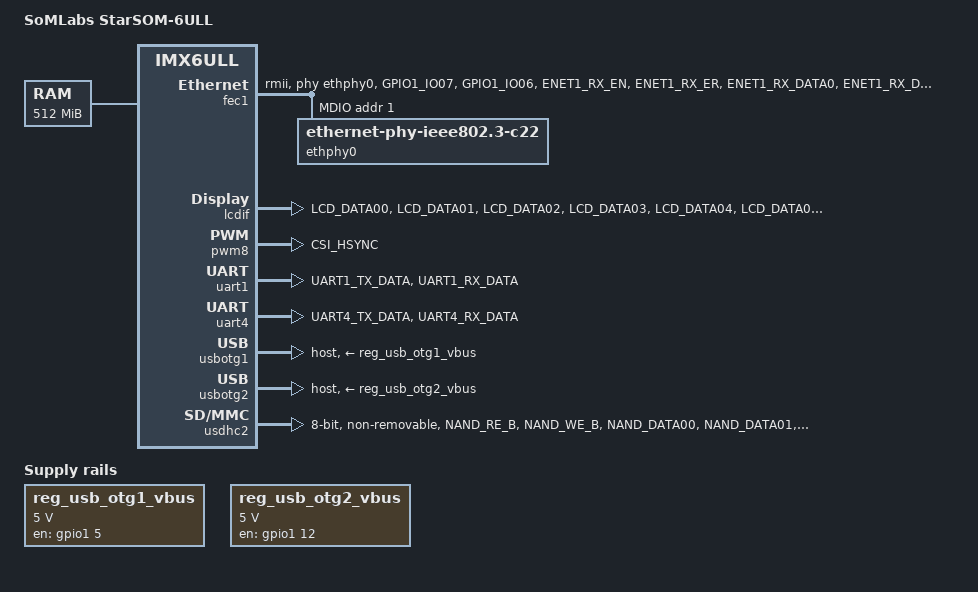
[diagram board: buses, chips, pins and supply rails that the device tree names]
// SPDX-License-Identifier: GPL-2.0+
/*
 * Copyright (C) 2021 Somlabs
 */

/dts-v1/;

#include <dt-bindings/input/input.h>
#include "imx6ull.dtsi"
#include "imx6ul-lcd-ph800480t013.dtsi"

/ {
	model = "SoMLabs StarSOM-6ULL";
	compatible = "fsl,imx6ull";

	chosen {
		stdout-path = &uart4;
	};

	memory {
		reg = <0x80000000 0x20000000>;
	};

	reserved-memory {
		#address-cells = <1>;
		#size-cells = <1>;
		ranges;

		linux,cma {
			compatible = "shared-dma-pool";
			reusable;
			size = <0x14000000>;
			linux,cma-default;
		};
	};

	regulators {
		compatible = "simple-bus";
		#address-cells = <1>;
		#size-cells = <0>;

		reg_usb_otg1_vbus: regulator@2 {
			compatible = "regulator-fixed";
			reg = <2>;
			pinctrl-names = "default";
			pinctrl-0 = <&pinctrl_usb_otg1>;
			regulator-name = "usb_otg1_vbus";
			regulator-min-microvolt = <5000000>;
			regulator-max-microvolt = <5000000>;
			gpio = <&gpio1 5 GPIO_ACTIVE_HIGH>;
			enable-active-high;
		};

		reg_usb_otg2_vbus: regulator@3 {
			compatible = "regulator-fixed";
			reg = <3>;
			pinctrl-names = "default";
			pinctrl-0 = <&pinctrl_usb_otg2>;
			regulator-name = "usb_otg2_vbus";
			regulator-min-microvolt = <5000000>;
			regulator-max-microvolt = <5000000>;
			gpio = <&gpio1 12 GPIO_ACTIVE_HIGH>;
			enable-active-high;
		};
	};
};

&cpu0 {
	arm-supply = <&reg_arm>;
	soc-supply = <&reg_soc>;
};

&fec1 {
	pinctrl-names = "default";
	pinctrl-0 = <&pinctrl_enet1>;
	phy-reset-gpios = <&gpio1 10 GPIO_ACTIVE_LOW>;
	phy-reset-duration = <5>;
	phy-reset-post-delay = <10>;
	phy-mode = "rmii";
	phy-handle = <&ethphy0>;
	status = "okay";

	mdio {
		#address-cells = <1>;
		#size-cells = <0>;

		ethphy0: ethernet-phy@1 {
			compatible = "ethernet-phy-ieee802.3-c22";
			reg = <1>;
		};
	};

};

&gpc {
	fsl,cpu_pupscr_sw2iso = <0x1>;
	fsl,cpu_pupscr_sw = <0x0>;
	fsl,cpu_pdnscr_iso2sw = <0x1>;
	fsl,cpu_pdnscr_iso = <0x1>;
	fsl,ldo-bypass = <0>; /* DCDC, ldo-enable */
};

&iomuxc {
	pinctrl-names = "default";
	pinctrl-0 = <&pinctrl_hog_1>;
	imx6ul-evk {
		pinctrl_hog_1: hoggrp-1 {
			fsl,pins = <
				MX6UL_PAD_JTAG_TCK__OSC32K_32K_OUT		0x17099	/* 0x4001b031*/	/* 32kHz low power clock reference clock for WiFi*/
				MX6UL_PAD_CSI_MCLK__GPIO4_IO17 			0x17059	/* output */
				MX6UL_PAD_CSI_VSYNC__GPIO4_IO19			0x1b001 /* input with 100k pullup */
			>;
		};

		pinctrl_enet1: enet1grp {
			fsl,pins = <
				MX6UL_PAD_GPIO1_IO07__ENET1_MDC		0x1b0b0
				MX6UL_PAD_GPIO1_IO06__ENET1_MDIO	0x1F829

				MX6UL_PAD_ENET1_RX_EN__ENET1_RX_EN	0x1b0b0
				MX6UL_PAD_ENET1_RX_ER__ENET1_RX_ER	0x1b0b0
				MX6UL_PAD_ENET1_RX_DATA0__ENET1_RDATA00	0x1b0b0
				MX6UL_PAD_ENET1_RX_DATA1__ENET1_RDATA01	0x1b0b0
				MX6UL_PAD_ENET1_TX_EN__ENET1_TX_EN	0x1b0b0
				MX6UL_PAD_ENET1_TX_DATA0__ENET1_TDATA00	0x1b0b0
				MX6UL_PAD_ENET1_TX_DATA1__ENET1_TDATA01	0x1b0b0
				MX6UL_PAD_ENET1_TX_CLK__ENET1_REF_CLK1	0x400010a9
				/* PHY reset pin */
				MX6UL_PAD_JTAG_MOD__GPIO1_IO10		0x1b0b0
			>;
		};

		pinctrl_lcdif_dat: lcdifdatgrp {
			fsl,pins = <
				MX6UL_PAD_LCD_DATA00__LCDIF_DATA00  0x79
				MX6UL_PAD_LCD_DATA01__LCDIF_DATA01  0x79
				MX6UL_PAD_LCD_DATA02__LCDIF_DATA02  0x79
				MX6UL_PAD_LCD_DATA03__LCDIF_DATA03  0x79
				MX6UL_PAD_LCD_DATA04__LCDIF_DATA04  0x79
				MX6UL_PAD_LCD_DATA05__LCDIF_DATA05  0x79
				MX6UL_PAD_LCD_DATA06__LCDIF_DATA06  0x79
				MX6UL_PAD_LCD_DATA07__LCDIF_DATA07  0x79
				MX6UL_PAD_LCD_DATA08__LCDIF_DATA08  0x79
				MX6UL_PAD_LCD_DATA09__LCDIF_DATA09  0x79
				MX6UL_PAD_LCD_DATA10__LCDIF_DATA10  0x79
				MX6UL_PAD_LCD_DATA11__LCDIF_DATA11  0x79
				MX6UL_PAD_LCD_DATA12__LCDIF_DATA12  0x79
				MX6UL_PAD_LCD_DATA13__LCDIF_DATA13  0x79
				MX6UL_PAD_LCD_DATA14__LCDIF_DATA14  0x79
				MX6UL_PAD_LCD_DATA15__LCDIF_DATA15  0x79
				MX6UL_PAD_LCD_DATA16__LCDIF_DATA16  0x79
				MX6UL_PAD_LCD_DATA17__LCDIF_DATA17  0x79
				MX6UL_PAD_LCD_DATA18__LCDIF_DATA18  0x79
				MX6UL_PAD_LCD_DATA19__LCDIF_DATA19  0x79
				MX6UL_PAD_LCD_DATA20__LCDIF_DATA20  0x79
				MX6UL_PAD_LCD_DATA21__LCDIF_DATA21  0x79
				MX6UL_PAD_LCD_DATA22__LCDIF_DATA22  0x79
				MX6UL_PAD_LCD_DATA23__LCDIF_DATA23  0x79
			>;
		};

		pinctrl_lcdif_ctrl: lcdifctrlgrp {
			fsl,pins = <
				MX6UL_PAD_LCD_CLK__LCDIF_CLK	    0x79
				MX6UL_PAD_LCD_ENABLE__LCDIF_ENABLE  0x79
				MX6UL_PAD_LCD_HSYNC__LCDIF_HSYNC    0x79
				MX6UL_PAD_LCD_VSYNC__LCDIF_VSYNC    0x79
				/* used for LCD power on */
				MX6UL_PAD_JTAG_TRST_B__GPIO1_IO15   0x79
			>;
		};

		pinctrl_pwm8: pwm8grp {
			fsl,pins = <
				MX6UL_PAD_CSI_HSYNC__GPIO4_IO20     0x110b0
				//MX6UL_PAD_CSI_HSYNC__PWM8_OUT       0x110b0
			>;
		};

		pinctrl_qspi: qspigrp {
			fsl,pins = <
				MX6UL_PAD_NAND_WP_B__QSPI_A_SCLK      0x70a1
				MX6UL_PAD_NAND_READY_B__QSPI_A_DATA00 0x70a1
				MX6UL_PAD_NAND_CE0_B__QSPI_A_DATA01   0x70a1
				MX6UL_PAD_NAND_CE1_B__QSPI_A_DATA02   0x70a1
				MX6UL_PAD_NAND_CLE__QSPI_A_DATA03     0x70a1
				MX6UL_PAD_NAND_DQS__QSPI_A_SS0_B      0x70a1
			>;
		};

                pinctrl_uart1: uart1grp {
                        fsl,pins = <
                                MX6UL_PAD_UART1_TX_DATA__UART1_DCE_TX 0x1b0b1
                                MX6UL_PAD_UART1_RX_DATA__UART1_DCE_RX 0x1b0b1
                        >;
                };

		pinctrl_uart4: uart4grp {
			fsl,pins = <
				MX6UL_PAD_UART4_TX_DATA__UART4_DCE_TX 0x1b0b1
				MX6UL_PAD_UART4_RX_DATA__UART4_DCE_RX 0x1b0b1
			>;
		};

		pinctrl_uart3: uart3grp {
			fsl,pins = <
				MX6UL_PAD_UART3_TX_DATA__UART3_DCE_TX 0x1b0b1
				MX6UL_PAD_UART3_RX_DATA__UART3_DCE_RX 0x1b0b1
			>;
		};

		pinctrl_usdhc2: usdhc2grp {
			fsl,pins = <
				MX6UL_PAD_NAND_RE_B__USDHC2_CLK     0x10069
				MX6UL_PAD_NAND_WE_B__USDHC2_CMD     0x17059
				MX6UL_PAD_NAND_DATA00__USDHC2_DATA0 0x17059
				MX6UL_PAD_NAND_DATA01__USDHC2_DATA1 0x17059
				MX6UL_PAD_NAND_DATA02__USDHC2_DATA2 0x17059
				MX6UL_PAD_NAND_DATA03__USDHC2_DATA3 0x17059
			>;
		};

		pinctrl_usdhc2_8bit: usdhc2grp_8bit {
			fsl,pins = <
				MX6UL_PAD_NAND_RE_B__USDHC2_CLK     0x10069
				MX6UL_PAD_NAND_WE_B__USDHC2_CMD     0x17059
				MX6UL_PAD_NAND_DATA00__USDHC2_DATA0 0x17059
				MX6UL_PAD_NAND_DATA01__USDHC2_DATA1 0x17059
				MX6UL_PAD_NAND_DATA02__USDHC2_DATA2 0x17059
				MX6UL_PAD_NAND_DATA03__USDHC2_DATA3 0x17059
				MX6UL_PAD_NAND_DATA04__USDHC2_DATA4 0x17059
				MX6UL_PAD_NAND_DATA05__USDHC2_DATA5 0x17059
				MX6UL_PAD_NAND_DATA06__USDHC2_DATA6 0x17059
				MX6UL_PAD_NAND_DATA07__USDHC2_DATA7 0x17059
			>;
		};

		pinctrl_usdhc2_8bit_100mhz: usdhc2grp_8bit_100mhz {
			fsl,pins = <
				MX6UL_PAD_NAND_RE_B__USDHC2_CLK     0x100b9
				MX6UL_PAD_NAND_WE_B__USDHC2_CMD     0x170b9
				MX6UL_PAD_NAND_DATA00__USDHC2_DATA0 0x170b9
				MX6UL_PAD_NAND_DATA01__USDHC2_DATA1 0x170b9
				MX6UL_PAD_NAND_DATA02__USDHC2_DATA2 0x170b9
				MX6UL_PAD_NAND_DATA03__USDHC2_DATA3 0x170b9
				MX6UL_PAD_NAND_DATA04__USDHC2_DATA4 0x170b9
				MX6UL_PAD_NAND_DATA05__USDHC2_DATA5 0x170b9
				MX6UL_PAD_NAND_DATA06__USDHC2_DATA6 0x170b9
				MX6UL_PAD_NAND_DATA07__USDHC2_DATA7 0x170b9
			>;
		};

		pinctrl_usdhc2_8bit_200mhz: usdhc2grp_8bit_200mhz {
			fsl,pins = <
				MX6UL_PAD_NAND_RE_B__USDHC2_CLK     0x100f9
				MX6UL_PAD_NAND_WE_B__USDHC2_CMD     0x170f9
				MX6UL_PAD_NAND_DATA00__USDHC2_DATA0 0x170f9
				MX6UL_PAD_NAND_DATA01__USDHC2_DATA1 0x170f9
				MX6UL_PAD_NAND_DATA02__USDHC2_DATA2 0x170f9
				MX6UL_PAD_NAND_DATA03__USDHC2_DATA3 0x170f9
				MX6UL_PAD_NAND_DATA04__USDHC2_DATA4 0x170f9
				MX6UL_PAD_NAND_DATA05__USDHC2_DATA5 0x170f9
				MX6UL_PAD_NAND_DATA06__USDHC2_DATA6 0x170f9
				MX6UL_PAD_NAND_DATA07__USDHC2_DATA7 0x170f9
			>;
		};

		pinctrl_wdog: wdoggrp {
			fsl,pins = <
				MX6UL_PAD_GPIO1_IO09__WDOG1_WDOG_ANY    0x30b0
			>;
		};

		pinctrl_usb_otg1: usbotg1grp {
			fsl,pins = <
				MX6UL_PAD_GPIO1_IO05__GPIO1_IO05    0x10b0
			>;
		};

		pinctrl_usb_otg2: usbotg2grp {
			fsl,pins = <
				MX6UL_PAD_JTAG_TDO__GPIO1_IO12    0x10b0
			>;
		};
	};
};

&lcdif {
	pinctrl-names = "default";
	pinctrl-0 = <&pinctrl_lcdif_dat
		     &pinctrl_lcdif_ctrl>;
	display = <&display0>;
	status = "okay";
};

&pwm8 {
	pinctrl-names = "default";
	pinctrl-0 = <&pinctrl_pwm8>;
	status = "okay";
};

&uart1 {
	pinctrl-names = "default";
	pinctrl-0 = <&pinctrl_uart1>;
	status = "okay";
};

&uart4 {
	pinctrl-names = "default";
	pinctrl-0 = <&pinctrl_uart4>;
	status = "okay";
};

// &uart3 {
// 	pinctrl-names = "default";
// 	pinctrl-0 = <&pinctrl_uart3>;
// 	status = "okay";
// };

&usbotg1 {
    vbus-supply = <&reg_usb_otg1_vbus>;
	dr_mode = "host";
	status = "okay";
};

&usbotg2 {
    vbus-supply = <&reg_usb_otg2_vbus>;
	dr_mode = "host";
	status = "okay";
};

&usbphy1 {
	tx-d-cal = <0x5>;
};

&usbphy2 {
	tx-d-cal = <0x5>;
};

&usdhc2 {
	pinctrl-names = "default", "state_100mhz", "state_200mhz";
	pinctrl-0 = <&pinctrl_usdhc2_8bit>;
	pinctrl-1 = <&pinctrl_usdhc2_8bit_100mhz>;
	pinctrl-2 = <&pinctrl_usdhc2_8bit_200mhz>;
	bus-width = <8>;
	non-removable;
	status = "okay";
};

&wdog1 {
	pinctrl-names = "default";
	pinctrl-0 = <&pinctrl_wdog>;
	fsl,wdog_b;
};
